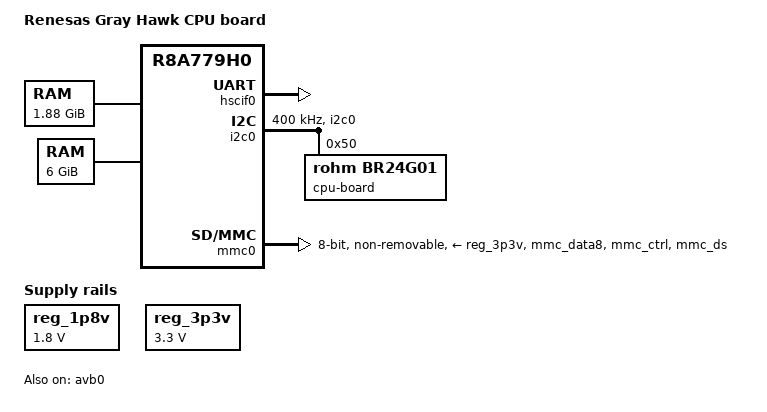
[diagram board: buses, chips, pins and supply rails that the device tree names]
// SPDX-License-Identifier: (GPL-2.0-only OR BSD-2-Clause)
/*
 * Device Tree Source for the Gray Hawk CPU board
 *
 * Copyright (C) 2023 Renesas Electronics Corp.
 */

#include <dt-bindings/gpio/gpio.h>
#include <dt-bindings/input/input.h>

#include "r8a779h0.dtsi"

/ {
	model = "Renesas Gray Hawk CPU board";
	compatible = "renesas,grayhawk-cpu", "renesas,r8a779h0";

	aliases {
		ethernet0 = &avb0;
		serial0 = &hscif0;
	};

	chosen {
		bootargs = "ignore_loglevel rw root=/dev/nfs ip=on";
		stdout-path = "serial0:921600n8";
	};

	memory@48000000 {
		device_type = "memory";
		/* first 128MB is reserved for secure area. */
		reg = <0x0 0x48000000 0x0 0x78000000>;
	};

	memory@480000000 {
		device_type = "memory";
		reg = <0x4 0x80000000 0x1 0x80000000>;
	};

	reg_1p8v: regulator-1p8v {
			compatible = "regulator-fixed";
			regulator-name = "fixed-1.8V";
			regulator-min-microvolt = <1800000>;
			regulator-max-microvolt = <1800000>;
			regulator-boot-on;
			regulator-always-on;
	};

	reg_3p3v: regulator-3p3v {
			compatible = "regulator-fixed";
			regulator-name = "fixed-3.3V";
			regulator-min-microvolt = <3300000>;
			regulator-max-microvolt = <3300000>;
			regulator-boot-on;
			regulator-always-on;
	};
};

&avb0 {
	pinctrl-0 = <&avb0_pins>, <&vddq_eth_pins>;
	pinctrl-names = "default";
	phy-handle = <&phy0>;
        tx-internal-delay-ps = <2000>;
        rx-internal-delay-ps = <1800>;
	status = "okay";
	phy0: fixed-link {
		reset-gpios = <&gpio7 10 GPIO_ACTIVE_LOW>;
		speed = <1000>;
		full-duplex;
	};
};

&extal_clk {
	clock-frequency = <16666666>;
};

&extalr_clk {
	clock-frequency = <32768>;
};

&hscif0 {
	status = "okay";
};

&i2c0 {
	pinctrl-0 = <&i2c0_pins>;
	pinctrl-names = "default";

	status = "okay";
	clock-frequency = <400000>;

	eeprom@50 {
		compatible = "rohm,br24g01", "atmel,24c01";
		label = "cpu-board";
		reg = <0x50>;
		pagesize = <8>;
	};
};

&mmc0 {
	pinctrl-0 = <&mmc_pins>;
	pinctrl-1 = <&mmc_pins>;
	pinctrl-names = "default", "state_uhs";

	vmmc-supply = <&reg_3p3v>;
	vqmmc-supply = <&reg_1p8v>;
	mmc-hs200-1_8v;
	mmc-hs400-1_8v;
	bus-width = <8>;
	no-sd;
	no-sdio;
	non-removable;
	full-pwr-cycle-in-suspend;
	status = "okay";
};

&pfc {
	pinctrl-0 = <&scif_clk_pins>;
	pinctrl-names = "default";

	avb0_pins: avb0 {
		mux {
			groups = "avb0_link", "avb0_mdio", "avb0_rgmii",
				 "avb0_txcrefclk";
			function = "avb0";
		};

		pins_mdio {
			groups = "avb0_mdio";
			drive-strength = <21>;
		};

		pins_mii {
			groups = "avb0_rgmii";
			drive-strength = <21>;
		};
	};

        vddq_eth_pins: vddq_eth {
                pins_pwr {
                        pins = "PIN_VDDQ_AVB0", "PIN_VDDQ_AVB1", "PIN_VDDQ_AVB2";
                        power-source = <1800>;
                };
        };

	hscif0_pins: hscif0 {
		groups = "hscif0_data", "hscif0_ctrl";
		function = "hscif0";
	};

	i2c0_pins: i2c0 {
		groups = "i2c0";
		function = "i2c0";
	};

	mmc_pins: mmc {
		groups = "mmc_data8", "mmc_ctrl", "mmc_ds";
		function = "mmc";
		power-source = <1800>;
	};

	scif_clk_pins: scif_clk {
		groups = "scif_clk";
		function = "scif_clk";
	};
};

&scif_clk {
	clock-frequency = <24000000>;
};
